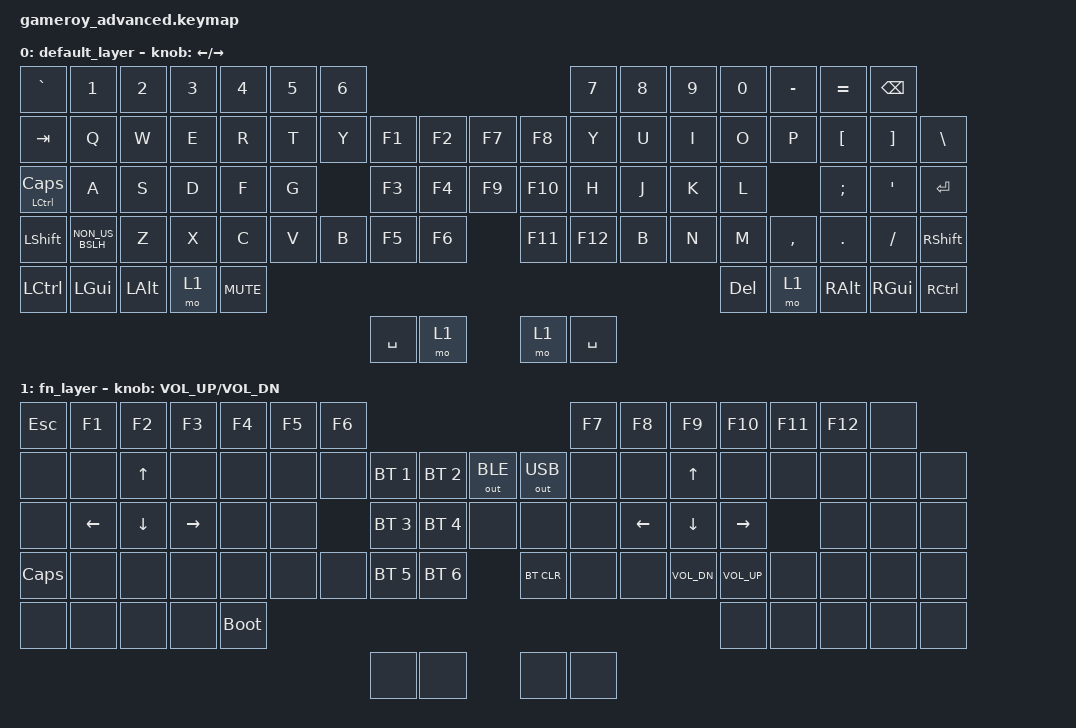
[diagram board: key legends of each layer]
#include <behaviors.dtsi>
#include <dt-bindings/zmk/keys.h>
#include <dt-bindings/zmk/bt.h>
#include <dt-bindings/zmk/outputs.h>

&mt {
    tapping-term-ms = <400>;
};

/ {
    keymap {
        compatible = "zmk,keymap";

        default_layer {
// ---------------------------------------------------------------------------------------------------------------------------------------------------------------------------------------------------------------------------
// |   `/~   |    1    |    2    |    3    |    4    |    5    |    6    |                                                                   |    7    |    8    |    9    |    0    |    -    |    =    |   BSPC  |
// |   TAB   |    Q    |    W    |    E    |    R    |    T    |    Y    |    |   F1    |   F2    |                  |   F7    |   F8   |    |    Y    |    U    |    I    |    O    |    P    |    [    |    ]    |    \    |
// |CAPS/CTRL|    A    |    S    |    D    |    F    |    G    |              |   F3    |   F4    |                  |   F9    |   F10  |    |    H    |    J    |    K    |    L    |   ;     |    '    |   ENTER |
// |  SHIFT  |    \    |    Z    |    X    |    C    |    V    |    B    |    |   F5    |   F6    |                  |   F11   |   F12  |    |    B    |    N    |    M    |    ,    |    .    |    /    |   SHIFT |
//      |  CTRL   |  GUI   |   ALT   |   MO 1  |                              |   MUTE  |                                      | DELETE |                                       |  MO 1  |   ALT   |   GUI   |   CTRL  | 
// |                                                                |  SPACE  |   MO 1  |                                      |  ENTER |  SPACE  |
//                                                         | Left enconder vol up down  |                                      | No Encoder Installed T_T |
            bindings = <
	&kp GRAVE  &kp N1      &kp N2   &kp N3    &kp N4    &kp N5    &kp N6                                                                        &kp N7      &kp N8    &kp N9    &kp N0    &kp MINUS  &kp EQUAL  &kp BSPC
    &kp TAB    &kp Q       &kp W    &kp E     &kp R     &kp T     &kp Y         &kp F1     &kp F2                      &kp F7    &kp F8       &kp Y       &kp U       &kp I     &kp O     &kp P     &kp LBKT   &kp RBKT   &kp BSLH
    &mt LCTRL CAPS &kp A      &kp S    &kp D     &kp F     &kp G                &kp F3     &kp F4                      &kp F9    &kp F10      &kp H       &kp J     &kp K     &kp L     &kp SEMI   &kp APOS   &kp ENTER
    &kp LSHIFT &kp NON_US_BSLH &kp Z    &kp X     &kp C     &kp V     &kp B     &kp F5     &kp F6                      &kp F11   &kp F12      &kp B       &kp N     &kp M     &kp COMMA &kp DOT    &kp SLASH  &kp RSHIFT
    &kp LCTRL  &kp LGUI        &kp LALT &mo 1                                   &kp C_MUTE                                       &kp DEL                                   &mo 1  &kp RALT    &kp RGUI   &kp RCTRL
	                                                                  &kp SPACE &mo 1                                        &mo 1   &kp SPACE       
            >;

            sensor-bindings = <&inc_dec_kp LEFT RIGHT>;
        };

        fn_layer {
// ---------------------------------------------------------------------------------------------------------------------------------------------------------------------------------------------------------------------------
// |  ESC    |   F1    |   F2    |   F3    |   F4    |   F5    |   F6    |                                                                   |   F7    |   F8    |   F9    |   F10   |   F11   |   F12   |         |         |
// |         |         |   UP    |         |         |         |         |    |  BT1    |  BT2    |                  |   BT    |  USB   |    |         |         |   UP    |         |         |         |         |         |
// |         |  LEFT   |  DOWN   |  RIGHT  |         |         |              |  BT3    |  BT4    |                  |         |        |    |         |  LEFT   |  DOWN   |  RIGHT  |         |         |         |
// |         |         |  Sleep  |         |         |         |         |    |  BT5    |  BT6    |                  |BT CLEAR |        |    |         | Vol Up  | Vol Dwn |         |         |Ply/Pause|         |         |
// |         |      |       |       |                                         |  RESET  |                                      |        |                                           |      |       |     |         | 
// |                                                                |         |         |                                      |        |         |
//                                                         | Left enconder vol up down  |                                      | No Encoder Installed T_T |
            bindings = <
	&kp ESC     &kp F1         &kp F2    &kp F3    &kp F4   &kp F5   &kp F6                                                                     &kp F7      &kp F8    &kp F9    &kp F10    &kp F11  &kp F12     &none
    &none       &none          &kp UP    &none     &none    &none    &none      &bt BT_SEL 1 &bt BT_SEL 2         &out OUT_BLE   &out OUT_USB    &none      &none       &kp UP   &none     &none      &none     &none  &none
    &none       &kp LEFT       &kp DOWN  &kp RIGHT &none    &none               &bt BT_SEL 3 &bt BT_SEL 4         &none          &none           &none      &kp LEFT    &kp DOWN   &kp RIGHT     &none      &none     &none
    &kp CAPS    &none          &none     &none     &none    &none    &none      &bt BT_SEL 5 &bt BT_SEL 6         &bt BT_CLR     &none           &none      &kp C_VOL_DN &kp C_VOL_UP &none    &none      &none     &none
    &none       &none          &none     &none                                  &bootloader                                            &none                                                  &none  &none   &none   &none
	                                                                            &none  &none                                            &none   &none       
            >;

            sensor-bindings = <&inc_dec_kp C_VOL_UP C_VOL_DN>;
        };
    };
};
